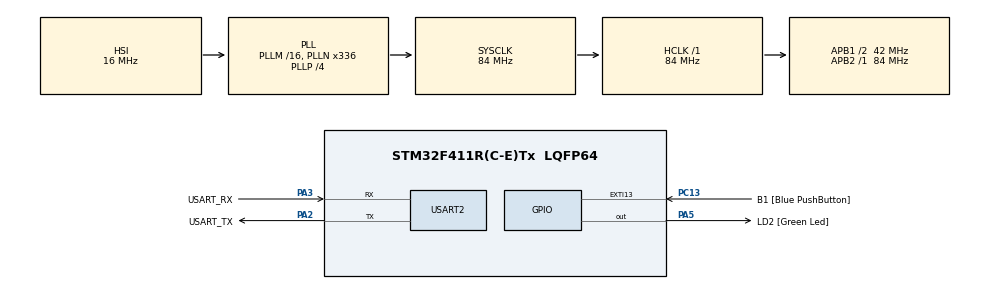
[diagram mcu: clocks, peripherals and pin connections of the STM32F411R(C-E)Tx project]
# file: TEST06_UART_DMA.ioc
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Dma.Request0=USART2_RX
Dma.USART2_RX.0.Direction=DMA_PERIPH_TO_MEMORY
Dma.USART2_RX.0.FIFOMode=DMA_FIFOMODE_DISABLE
Dma.USART2_RX.0.Instance=DMA1_Stream5
Dma.USART2_RX.0.MemDataAlignment=DMA_MDATAALIGN_BYTE
Dma.USART2_RX.0.MemInc=DMA_MINC_ENABLE
Dma.USART2_RX.0.Mode=DMA_CIRCULAR
Dma.USART2_RX.0.PeriphDataAlignment=DMA_PDATAALIGN_BYTE
Dma.USART2_RX.0.PeriphInc=DMA_PINC_DISABLE
Dma.USART2_RX.0.Priority=DMA_PRIORITY_LOW
Mcu.Family=STM32F4
Mcu.Name=STM32F411R(C-E)Tx
Mcu.Package=LQFP64
NVIC.DMA1_Stream5_IRQn=true\:0\:0\:false\:false\:true\:false\:true\:true
NVIC.EXTI15_10_IRQn=true\:0\:0\:false\:false\:true\:true\:true\:true
NVIC.PriorityGroup=NVIC_PRIORITYGROUP_0
PA13.GPIO_Label=TMS
PA13.Mode=Serial_Wire
PA13.Signal=SYS_JTMS-SWDIO
PA14.GPIO_Label=TCK
PA14.Mode=Serial_Wire
PA14.Signal=SYS_JTCK-SWCLK
PA2.GPIO_Label=USART_TX
PA2.Mode=Asynchronous
PA2.Signal=USART2_TX
PA3.GPIO_Label=USART_RX
PA3.Mode=Asynchronous
PA3.Signal=USART2_RX
PA5.GPIO_Label=LD2 [Green Led]
PA5.Signal=GPIO_Output
PB3.GPIO_Label=SWO
PB3.Signal=SYS_JTDO-SWO
PC13-ANTI_TAMP.GPIO_Label=B1 [Blue PushButton]
PC13-ANTI_TAMP.GPIO_ModeDefaultEXTI=GPIO_MODE_IT_FALLING
PC13-ANTI_TAMP.Signal=GPXTI13
PC14-OSC32_IN.Mode=LSE-External-Oscillator
PC14-OSC32_IN.Signal=RCC_OSC32_IN
PC15-OSC32_OUT.Mode=LSE-External-Oscillator
PC15-OSC32_OUT.Signal=RCC_OSC32_OUT
PH0\ -\ OSC_IN.Mode=HSE-External-Clock-Source
PH0\ -\ OSC_IN.Signal=RCC_OSC_IN
PH1\ -\ OSC_OUT.Mode=HSE-External-Clock-Source
PH1\ -\ OSC_OUT.Signal=RCC_OSC_OUT
ProjectManager.HeapSize=0x200
ProjectManager.StackSize=0x400
ProjectManager.TargetToolchain=STM32CubeIDE
RCC.48MHZClocksFreq_Value=84000000
RCC.AHBFreq_Value=84000000
RCC.APB1CLKDivider=RCC_HCLK_DIV2
RCC.APB1Freq_Value=42000000
RCC.APB1TimFreq_Value=84000000
RCC.APB2Freq_Value=84000000
RCC.APB2TimFreq_Value=84000000
RCC.CortexFreq_Value=84000000
RCC.FLatency-AdvancedSettings=FLASH_LATENCY_2
RCC.HCLKFreq_Value=84000000
RCC.HSE_VALUE=8000000
RCC.HSI_VALUE=16000000
RCC.PLLN=336
RCC.PLLP=RCC_PLLP_DIV4
RCC.SYSCLKFreq_VALUE=84000000
RCC.SYSCLKSource=RCC_SYSCLKSOURCE_PLLCLK
RCC.VCOOutputFreq_Value=336000000
USART2.VirtualMode=VM_ASYNC
board=NUCLEO-F411RE

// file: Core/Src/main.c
/* USER CODE BEGIN Header */
/**
  ******************************************************************************
  * @file           : main.c
  * @brief          : Main program body
  ******************************************************************************
  * @attention
  *
  * Copyright (c) 2024 STMicroelectronics.
  * All rights reserved.
  *
  * This software is licensed under terms that can be found in the LICENSE file
  * in the root directory of this software component.
  * If no LICENSE file comes with this software, it is provided AS-IS.
  *
  ******************************************************************************
  */
#include "Myhead.h"
/* USER CODE END Header */
#include "main.h"

UART_HandleTypeDef huart2;
DMA_HandleTypeDef hdma_usart2_rx;

void SystemClock_Config(void);
static void MX_GPIO_Init(void);
static void MX_DMA_Init(void);
static void MX_USART2_UART_Init(void);

/* USER CODE BEGIN 0 */
extern myBuf buf;

int head = 0, tail = 0;
int GetBuffer(char *b) // b : char array pointer
{
	int len = 0;
	char* s = &buf;
	tail = MAX_BUF - huart2.hdmarx->Instance->NDTR;
	if(tail > head)
	{
		memcpy(b, s + head, tail - head);
		len = tail - head;
	}
	else if(tail < head)
	{
		memcpy(b, s + head, MAX_BUF - head);
		memcpy(b + MAX_BUF - head, s, tail);
		len = MAX_BUF + tail - head;
	}
	else
	{
		len = 0;
	}
	*(b + len) = 0;
	head = tail;
	return len;
}

void HAL_UART_RxCpltCallback(UART_HandleTypeDef *huart)
{

}

int n = 1;
void HAL_GPIO_EXTI_Callback(uint16_t GPIO_Pin)
{
	if(GPIO_Pin == B1_Pin)// n = 1,2,4,8 - Echo mode
	{
		if((n <<= 1) > 8) n = 1;
	}
}

/* USER CODE END 0 */

int main(void)
{

  /* MCU Configuration--------------------------------------------------------*/

  /* Reset of all peripherals, Initializes the Flash interface and the Systick. */
  HAL_Init();

  /* Configure the system clock */
  SystemClock_Config();

  /* Initialize all configured peripherals */
  MX_GPIO_Init();
  MX_DMA_Init();
  MX_USART2_UART_Init();
  /* USER CODE BEGIN 2 */
  ProgramStart("UART - DMA");
  HAL_UART_Receive_DMA(&huart2, &buf, MAX_BUF);

  /* USER CODE END 2 */

  /* Infinite loop */
  /* USER CODE BEGIN WHILE */
  CLS();
  printf("\033[2;0H<Memory dump mode>\r\n");

  while (1)
  {
    /* USER CODE END WHILE */

    /* USER CODE BEGIN 3 */
	  if(n == 8)
	  {
		  char arr[100];
		  if(GetBuffer(arr))
		  {
			  printf("%s\r\n", arr);
		  }
		  HAL_Delay(500);
	  }
	  else
	  {
		  printf("\033[3;0H\n");
		  Memdump(n);
		  HAL_Delay(200);
	  }
  }
  /* USER CODE END 3 */
}

void SystemClock_Config(void)
{
  RCC_OscInitTypeDef RCC_OscInitStruct = {0};
  RCC_ClkInitTypeDef RCC_ClkInitStruct = {0};

  /** Configure the main internal regulator output voltage
  */
  __HAL_RCC_PWR_CLK_ENABLE();
  __HAL_PWR_VOLTAGESCALING_CONFIG(PWR_REGULATOR_VOLTAGE_SCALE1);

  /** Initializes the RCC Oscillators according to the specified parameters
  * in the RCC_OscInitTypeDef structure.
  */
  RCC_OscInitStruct.OscillatorType = RCC_OSCILLATORTYPE_HSI;
  RCC_OscInitStruct.HSIState = RCC_HSI_ON;
  RCC_OscInitStruct.HSICalibrationValue = RCC_HSICALIBRATION_DEFAULT;
  RCC_OscInitStruct.PLL.PLLState = RCC_PLL_ON;
  RCC_OscInitStruct.PLL.PLLSource = RCC_PLLSOURCE_HSI;
  RCC_OscInitStruct.PLL.PLLM = 16;
  RCC_OscInitStruct.PLL.PLLN = 336;
  RCC_OscInitStruct.PLL.PLLP = RCC_PLLP_DIV4;
  RCC_OscInitStruct.PLL.PLLQ = 4;
  if (HAL_RCC_OscConfig(&RCC_OscInitStruct) != HAL_OK)
  {
    Error_Handler();
  }

  /** Initializes the CPU, AHB and APB buses clocks
  */
  RCC_ClkInitStruct.ClockType = RCC_CLOCKTYPE_HCLK|RCC_CLOCKTYPE_SYSCLK
                              |RCC_CLOCKTYPE_PCLK1|RCC_CLOCKTYPE_PCLK2;
  RCC_ClkInitStruct.SYSCLKSource = RCC_SYSCLKSOURCE_PLLCLK;
  RCC_ClkInitStruct.AHBCLKDivider = RCC_SYSCLK_DIV1;
  RCC_ClkInitStruct.APB1CLKDivider = RCC_HCLK_DIV2;
  RCC_ClkInitStruct.APB2CLKDivider = RCC_HCLK_DIV1;

  if (HAL_RCC_ClockConfig(&RCC_ClkInitStruct, FLASH_LATENCY_2) != HAL_OK)
  {
    Error_Handler();
  }
}

static void MX_USART2_UART_Init(void)
{

  huart2.Instance = USART2;
  huart2.Init.BaudRate = 115200;
  huart2.Init.WordLength = UART_WORDLENGTH_8B;
  huart2.Init.StopBits = UART_STOPBITS_1;
  huart2.Init.Parity = UART_PARITY_NONE;
  huart2.Init.Mode = UART_MODE_TX_RX;
  huart2.Init.HwFlowCtl = UART_HWCONTROL_NONE;
  huart2.Init.OverSampling = UART_OVERSAMPLING_16;
  if (HAL_UART_Init(&huart2) != HAL_OK)
  {
    Error_Handler();
  }

}

static void MX_DMA_Init(void)
{

  /* DMA controller clock enable */
  __HAL_RCC_DMA1_CLK_ENABLE();

  /* DMA interrupt init */
  /* DMA1_Stream5_IRQn interrupt configuration */
  HAL_NVIC_SetPriority(DMA1_Stream5_IRQn, 0, 0);
  HAL_NVIC_EnableIRQ(DMA1_Stream5_IRQn);

}

static void MX_GPIO_Init(void)
{
  GPIO_InitTypeDef GPIO_InitStruct = {0};

  /* GPIO Ports Clock Enable */
  __HAL_RCC_GPIOC_CLK_ENABLE();
  __HAL_RCC_GPIOH_CLK_ENABLE();
  __HAL_RCC_GPIOA_CLK_ENABLE();
  __HAL_RCC_GPIOB_CLK_ENABLE();

  /*Configure GPIO pin Output Level */
  HAL_GPIO_WritePin(LD2_GPIO_Port, LD2_Pin, GPIO_PIN_RESET);

  /*Configure GPIO pin : B1_Pin */
  GPIO_InitStruct.Pin = B1_Pin;
  GPIO_InitStruct.Mode = GPIO_MODE_IT_FALLING;
  GPIO_InitStruct.Pull = GPIO_NOPULL;
  HAL_GPIO_Init(B1_GPIO_Port, &GPIO_InitStruct);

  /*Configure GPIO pin : LD2_Pin */
  GPIO_InitStruct.Pin = LD2_Pin;
  GPIO_InitStruct.Mode = GPIO_MODE_OUTPUT_PP;
  GPIO_InitStruct.Pull = GPIO_NOPULL;
  GPIO_InitStruct.Speed = GPIO_SPEED_FREQ_LOW;
  HAL_GPIO_Init(LD2_GPIO_Port, &GPIO_InitStruct);

  /* EXTI interrupt init*/
  HAL_NVIC_SetPriority(EXTI15_10_IRQn, 0, 0);
  HAL_NVIC_EnableIRQ(EXTI15_10_IRQn);

}

void Error_Handler(void)
{
  __disable_irq();
  while (1)
  {
  }
}
